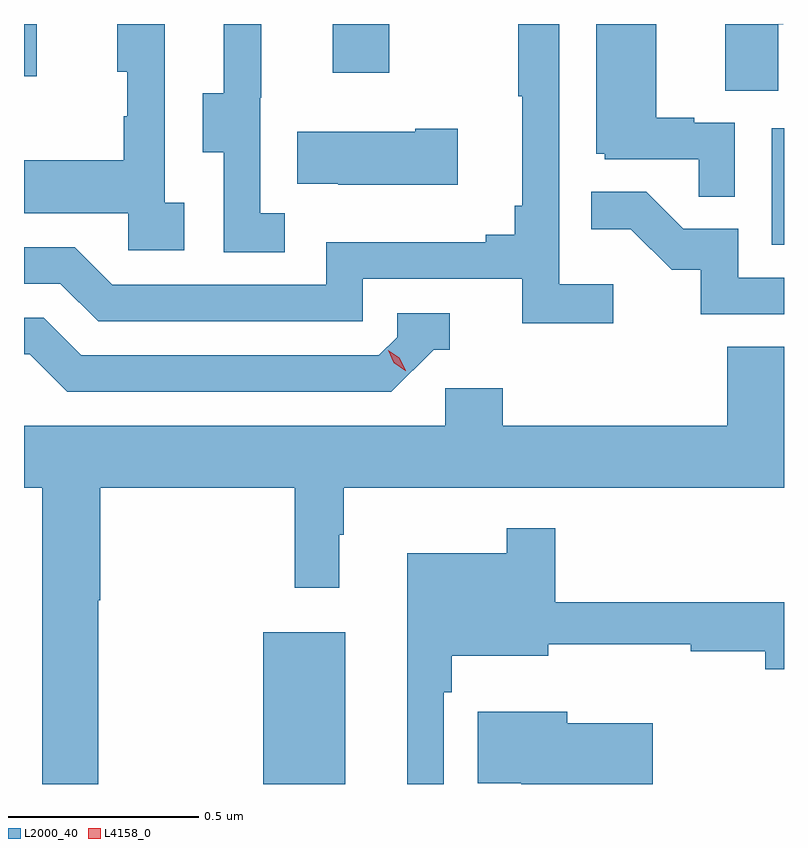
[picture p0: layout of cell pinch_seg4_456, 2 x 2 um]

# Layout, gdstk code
import gdstk
lib = gdstk.Library(unit=1e-6, precision=1e-09)
def R(c, l, rs):  # rectangles x0, y0, x1, y1
    for r in rs: c.add(gdstk.rectangle(r[:2], r[2:], *l))
def P(c, l, *ps):  # polygons
    for p in ps: c.add(gdstk.Polygon(p, *l))
L2000_40 = (2000, 40)
L4158_0 = (4158, 0)

pinch_seg4_456 = lib.new_cell('pinch_seg4_456')
R(pinch_seg4_456, L2000_40, [(899.732,774.729,899.947,775.129), (901.07,776.148,901.102,776.455), (899.102,776.592,899.135,776.729), (899.915,776.601,900.063,776.729)])
P(pinch_seg4_456, L2000_40, [(899.788,776.231),(899.724,776.231),(899.724,776.535),(899.726,776.535),(899.726,776.729),(899.627,776.729),(899.627,776.547),(899.573,776.547),(899.573,776.392),(899.628,776.392),(899.628,776.128),(899.788,776.128)],
  [(900.652,776.044),(900.51,776.044),(900.51,776.729),(900.402,776.729),(900.402,776.539),(900.413,776.539),(900.413,776.251),(900.394,776.251),(900.394,776.174),(900.317,776.174),(900.317,776.155),(899.898,776.155),(899.898,776.043),(899.334,776.043),(899.235,776.142),(899.102,776.142),(899.102,776.046),(899.198,776.046),(899.297,775.947),(899.994,775.947),(899.994,776.058),(900.413,776.058),(900.413,775.942),(900.652,775.942)],
  [(900.972,776.469),(900.866,776.469),(900.866,776.482),(900.766,776.482),(900.766,776.729),(900.608,776.729),(900.608,776.388),(900.63,776.388),(900.63,776.373),(900.877,776.373),(900.877,776.275),(900.972,776.275)],
  [(899.524,776.258),(899.472,776.258),(899.472,776.729),(899.348,776.729),(899.348,776.604),(899.374,776.604),(899.374,776.486),(899.364,776.486),(899.364,776.371),(899.102,776.371),(899.102,776.231),(899.376,776.231),(899.376,776.133),(899.524,776.133)],
  [(901.087,776.728),(901.1,776.728),(901.1,776.729),(900.947,776.729),(900.947,776.554),(901.087,776.554)],
  [(900.244,776.454),(900.131,776.454),(900.131,776.446),(899.821,776.446),(899.821,776.309),(899.929,776.309),(899.929,776.306),(900.244,776.306)],
  [(901.102,776.061),(900.981,776.061),(900.981,776.19),(900.837,776.19),(900.739,776.288),(900.595,776.288),(900.595,776.189),(900.699,776.189),(900.806,776.082),(900.883,776.082),(900.883,775.965),(901.102,775.965)],
  [(900.18,775.872),(900.223,775.872),(900.223,775.968),(900.084,775.968),(900.084,775.905),(900.036,775.857),(899.253,775.857),(899.154,775.956),(899.102,775.956),(899.102,775.86),(899.117,775.86),(899.216,775.761),(900.069,775.761)],
  [(899.298,775.212),(899.303,775.212),(899.303,775.508),(899.815,775.508),(899.815,775.245),(899.932,775.245),(899.932,775.385),(899.944,775.385),(899.944,775.508),(901.102,775.508),(901.102,775.88),(900.953,775.88),(900.953,775.672),(900.362,775.672),(900.362,775.77),(900.21,775.77),(900.21,775.672),(899.102,775.672),(899.102,775.508),(899.15,775.508),(899.15,774.729),(899.298,774.729)],
  [(900.207,774.971),(900.227,774.971),(900.227,775.067),(900.481,775.067),(900.481,775.097),(900.856,775.097),(900.856,775.078),(901.052,775.078),(901.052,775.031),(901.102,775.031),(901.102,775.207),(900.5,775.207),(900.5,775.402),(900.372,775.402),(900.372,775.336),(900.11,775.336),(900.11,774.729),(900.207,774.729)],
  [(900.757,774.889),(900.532,774.889),(900.532,774.919),(900.296,774.919),(900.296,774.731),(900.41,774.731),(900.41,774.729),(900.757,774.729)])
P(pinch_seg4_456, L4158_0, [(900.105,775.817),(900.075,775.838),(900.06,775.871),(900.06,775.871),(900.06,775.871),(900.09,775.851),(900.106,775.818),(900.106,775.817)])

lib.write_gds('pinch_seg4_456.gds')
